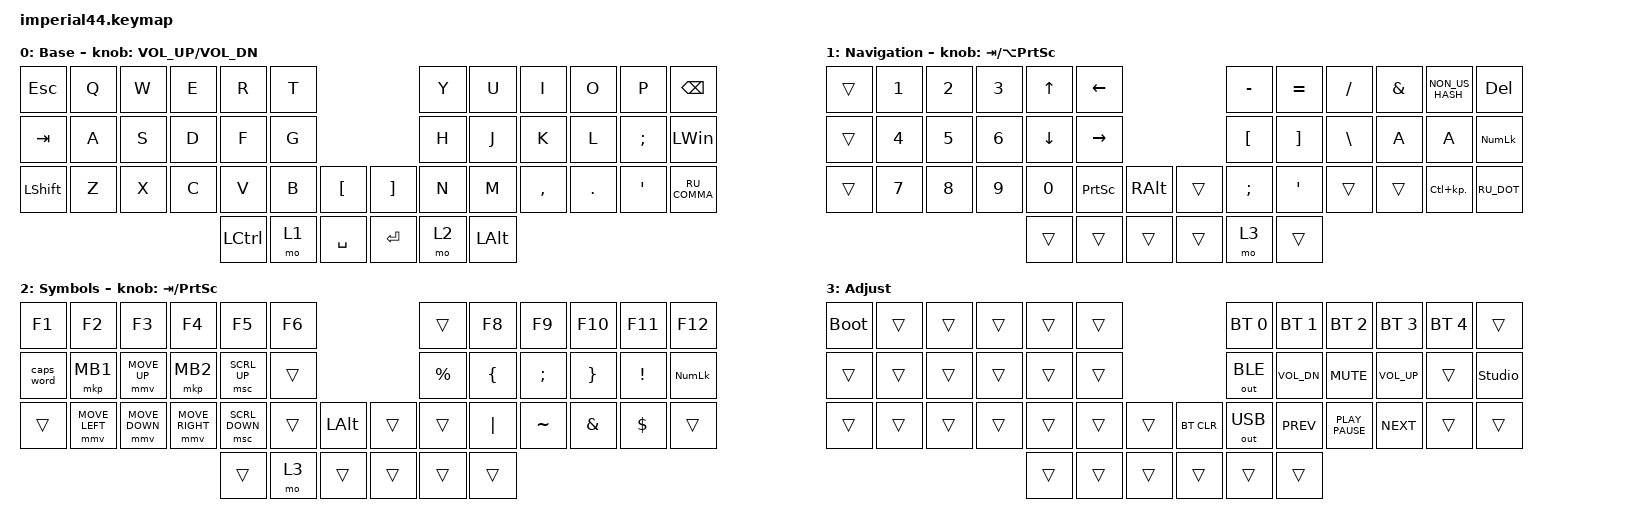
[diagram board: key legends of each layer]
#include "keys_ru.h"
#include <behaviors.dtsi>
#include <dt-bindings/zmk/bt.h>
#include <dt-bindings/zmk/keys.h>
#include <dt-bindings/zmk/outputs.h>
#include <dt-bindings/zmk/pointing.h>

/ {
    keymap {
        compatible = "zmk,keymap";

        base {
            bindings = <
&kp ESC    &kp Q  &kp W  &kp E  &kp R      &kp T                          &kp Y  &kp U     &kp I      &kp O    &kp P     &kp BACKSPACE
&kp TAB    &kp A  &kp S  &kp D  &kp F      &kp G                          &kp H  &kp J     &kp K      &kp L    &kp SEMI  &kp LEFT_WIN
&kp LSHFT  &kp Z  &kp X  &kp C  &kp V      &kp B  &kp LBKT     &kp RBKT   &kp N  &kp M     &kp COMMA  &kp DOT  &kp SQT   &kp RU_COMMA
                                &kp LCTRL  &mo 1  &kp SPACE    &kp ENTER  &mo 2  &kp LALT
            >;

            display-name = "Base";
            sensor-bindings = <&inc_dec_kp C_VOL_UP C_VOL_DN>;
        };

        nav {
            bindings = <
&trans  &kp N1        &kp N2        &kp N3  &kp UP        &kp LEFT                                  &kp MINUS         &kp EQUAL          &kp SLASH      &kp AMPERSAND  &kp NON_US_HASH  &kp DELETE
&trans  &kp NUMBER_4  &kp NUMBER_5  &kp N6  &kp DOWN      &kp RIGHT_ARROW                           &kp LEFT_BRACKET  &kp RIGHT_BRACKET  &kp BACKSLASH  &kp A          &kp A            &kp KP_NUMLOCK
&trans  &kp N7        &kp N8        &kp N9  &kp NUMBER_0  &kp PRINTSCREEN  &kp RIGHT_ALT    &trans  &kp SEMICOLON     &kp SINGLE_QUOTE   &trans         &trans         &kp LC(KP_DOT)   &kp RU_DOT
                                            &trans        &trans           &trans           &trans  &mo 3             &trans
            >;

            display-name = "Navigation";
            sensor-bindings = <&inc_dec_kp TAB LA(PRINTSCREEN)>;
        };

        sym {
            bindings = <
&kp F1      &kp F2          &kp F3          &kp F4           &kp F5          &kp F6                          &trans     &kp F8    &kp F9     &kp F10   &kp F11   &kp F12
&caps_word  &mkp MB1        &mmv MOVE_UP    &mkp MB2         &msc SCRL_UP    &trans                          &kp PRCNT  &kp LBRC  &kp SEMI   &kp RBRC  &kp EXCL  &kp KP_NUM
&trans      &mmv MOVE_LEFT  &mmv MOVE_DOWN  &mmv MOVE_RIGHT  &msc SCRL_DOWN  &trans  &kp LEFT_ALT    &trans  &trans     &kp PIPE  &kp TILDE  &kp AMPS  &kp DLLR  &trans
                                                             &trans          &mo 3   &trans          &trans  &trans     &trans
            >;

            display-name = "Symbols";
            sensor-bindings = <&inc_dec_kp TAB PRINTSCREEN>;
        };

        adj {
            bindings = <
&bootloader  &trans  &trans  &trans  &trans  &trans                        &bt BT_SEL 0  &bt BT_SEL 1  &bt BT_SEL 2      &bt BT_SEL 3  &bt BT_SEL 4  &trans
&trans       &trans  &trans  &trans  &trans  &trans                        &out OUT_BLE  &kp C_VOL_DN  &kp K_MUTE        &kp C_VOL_UP  &trans        &studio_unlock
&trans       &trans  &trans  &trans  &trans  &trans  &trans    &bt BT_CLR  &out OUT_USB  &kp K_PREV    &kp K_PLAY_PAUSE  &kp K_NEXT    &trans        &trans
                                     &trans  &trans  &trans    &trans      &trans        &trans
            >;

            display-name = "Adjust";
        };
    };
};
